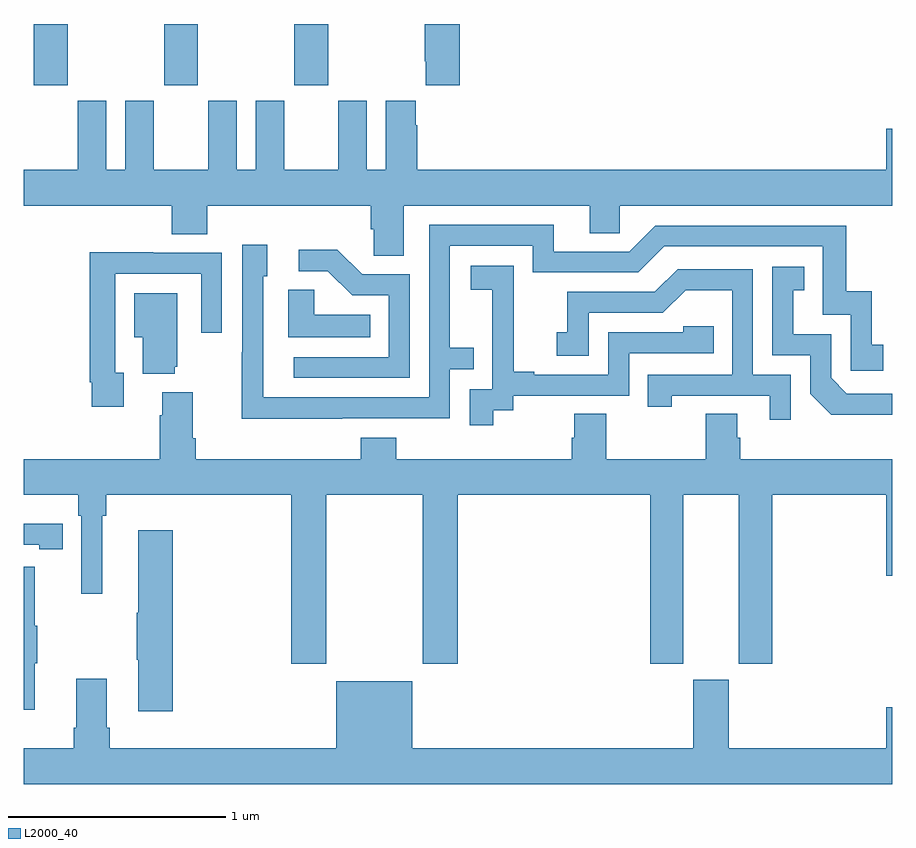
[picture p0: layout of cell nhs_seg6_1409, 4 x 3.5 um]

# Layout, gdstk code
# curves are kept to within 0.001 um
import gdstk
lib = gdstk.Library(unit=1e-6, precision=1e-09)
def R(c, l, rs):  # rectangles x0, y0, x1, y1
    for r in rs: c.add(gdstk.rectangle(r[:2], r[2:], *l))
def A(c, l, x, y, w, h, nx, ny, dx, dy):  # array of equal rectangles
    R(c, l, [(x+i*dx, y+j*dy, x+i*dx+w, y+j*dy+h) for i in range(nx) for j in range(ny)])
def P(c, l, *ps):  # polygons
    for p in ps: c.add(gdstk.Polygon(p, *l))
L2000_40 = (2000, 40)

nhs_seg6_1409 = lib.new_cell('nhs_seg6_1409')
A(nhs_seg6_1409, L2000_40, 197.047, 953.217, 0.155, 0.283, 3, 1, 0.6, 0)
P(nhs_seg6_1409, L2000_40, [(199.007,953.5),(198.847,953.5),(198.847,953.329),(198.851,953.329),(198.851,953.217),(199.007,953.217)],
  [(198.751,952.664),(199.607,952.664),(199.607,952.537),(199.746,952.537),(199.746,952.664),(201,952.664),(201,953.017),(200.972,953.017),(200.972,952.828),(198.812,952.828),(198.812,953.033),(198.805,953.033),(198.805,953.146),(198.668,953.146),(198.668,952.828),(198.58,952.828),(198.58,953.146),(198.449,953.146),(198.449,952.828),(198.199,952.828),(198.199,953.146),(198.068,953.146),(198.068,952.828),(197.98,952.828),(197.98,953.146),(197.849,953.146),(197.849,952.828),(197.599,952.828),(197.599,953.146),(197.468,953.146),(197.468,952.828),(197.38,952.828),(197.38,953.146),(197.249,953.146),(197.249,952.828),(197,952.828),(197,952.664),(197.681,952.664),(197.681,952.531),(197.846,952.531),(197.846,952.664),(198.599,952.664),(198.599,952.555),(198.612,952.555),(198.612,952.432),(198.751,952.432)],
  [(198.467,951.684),(198.963,951.684),(198.963,951.909),(199.073,951.909),(199.073,952.01),(198.963,952.01),(198.963,952.479),(199.344,952.479),(199.344,952.356),(199.83,952.356),(199.95,952.476),(200.679,952.476),(200.679,952.161),(200.808,952.161),(200.808,951.903),(200.959,951.903),(200.959,952.023),(200.906,952.023),(200.906,952.27),(200.788,952.27),(200.788,952.572),(199.908,952.572),(199.788,952.452),(199.441,952.452),(199.441,952.575),(198.867,952.575),(198.867,951.78),(198.102,951.78),(198.102,952.338),(198.121,952.338),(198.121,952.483),(198.006,952.483),(198.006,951.989),(198.004,951.989),(198.004,951.683)],
  [(198.777,952.347),(198.558,952.347),(198.445,952.46),(198.267,952.46),(198.267,952.362),(198.401,952.362),(198.512,952.251),(198.681,952.251),(198.681,951.966),(198.243,951.966),(198.243,951.87),(198.777,951.87)],
  [(197.461,951.894),(197.421,951.894),(197.421,952.35),(197.817,952.35),(197.817,952.077),(197.913,952.077),(197.913,952.446),(197.597,952.446),(197.597,952.448),(197.305,952.448),(197.305,951.85),(197.313,951.85),(197.313,951.738),(197.461,951.738)],
  [(199.162,951.721),(199.254,951.721),(199.254,951.789),(199.788,951.789),(199.788,951.984),(200.177,951.984),(200.177,952.107),(200.037,952.107),(200.037,952.08),(199.692,952.08),(199.692,951.885),(199.351,951.885),(199.351,951.898),(199.256,951.898),(199.256,952.181),(199.257,952.181),(199.257,952.387),(199.059,952.387),(199.059,952.277),(199.157,952.277),(199.157,952.049),(199.158,952.049),(199.158,951.819),(199.053,951.819),(199.053,951.651),(199.162,951.651)],
  [(201,951.798),(200.79,951.798),(200.718,951.87),(200.718,952.071),(200.545,952.071),(200.545,952.275),(200.594,952.275),(200.594,952.381),(200.448,952.381),(200.448,951.975),(200.622,951.975),(200.622,951.798),(200.72,951.701),(201,951.701)],
  [(200.532,951.885),(200.358,951.885),(200.358,952.371),(200.012,952.371),(199.907,952.266),(199.504,952.266),(199.504,952.081),(199.455,952.081),(199.455,951.972),(199.602,951.972),(199.602,952.17),(199.944,952.17),(200.048,952.274),(200.262,952.274),(200.262,951.885),(199.873,951.885),(199.873,951.738),(199.984,951.738),(199.984,951.789),(200.435,951.789),(200.435,951.678),(200.532,951.678)],
  [(198.596,952.162),(198.339,952.162),(198.339,952.277),(198.218,952.277),(198.218,952.058),(198.596,952.058)],
  [(197.696,951.921),(197.707,951.921),(197.707,952.261),(197.51,952.261),(197.51,952.058),(197.549,952.058),(197.549,951.89),(197.696,951.89)],
  [(198.233,950.553),(198.393,950.553),(198.393,951.332),(198.838,951.332),(198.838,950.553),(198.998,950.553),(198.998,951.332),(199.886,951.332),(199.886,950.553),(200.038,950.553),(200.038,951.332),(200.294,951.332),(200.294,950.553),(200.447,950.553),(200.447,951.332),(200.972,951.332),(200.972,950.958),(201,950.958),(201,951.496),(200.3,951.496),(200.3,951.594),(200.287,951.594),(200.287,951.704),(200.14,951.704),(200.14,951.496),(199.683,951.496),(199.683,951.704),(199.535,951.704),(199.535,951.594),(199.523,951.594),(199.523,951.496),(198.716,951.496),(198.716,951.595),(198.551,951.595),(198.551,951.496),(197.792,951.496),(197.792,951.592),(197.779,951.592),(197.779,951.805),(197.639,951.805),(197.639,951.698),(197.627,951.698),(197.627,951.496),(197,951.496),(197,951.332),(197.252,951.332),(197.252,951.236),(197.265,951.236),(197.265,950.877),(197.362,950.877),(197.362,951.236),(197.381,951.236),(197.381,951.332),(198.233,951.332)],
  [(197.18,951.198),(197.072,951.198),(197.072,951.199),(197,951.199),(197,951.102),(197.072,951.102),(197.072,951.082),(197.18,951.082)],
  [(197.687,951.169),(197.528,951.169),(197.528,950.789),(197.521,950.789),(197.521,950.572),(197.528,950.572),(197.528,950.334),(197.687,950.334)],
  [(197.051,950.555),(197.062,950.555),(197.062,950.729),(197.051,950.729),(197.051,951.001),(197,951.001),(197,950.343),(197.051,950.343)],
  [(201,950.353),(200.972,950.353),(200.972,950.164),(200.248,950.164),(200.248,950.481),(200.084,950.481),(200.084,950.164),(198.79,950.164),(198.79,950.473),(198.44,950.473),(198.44,950.164),(197.396,950.164),(197.396,950.26),(197.383,950.26),(197.383,950.485),(197.243,950.485),(197.243,950.26),(197.231,950.26),(197.231,950.164),(197,950.164),(197,950),(201,950)])

lib.write_gds('nhs_seg6_1409.gds')
